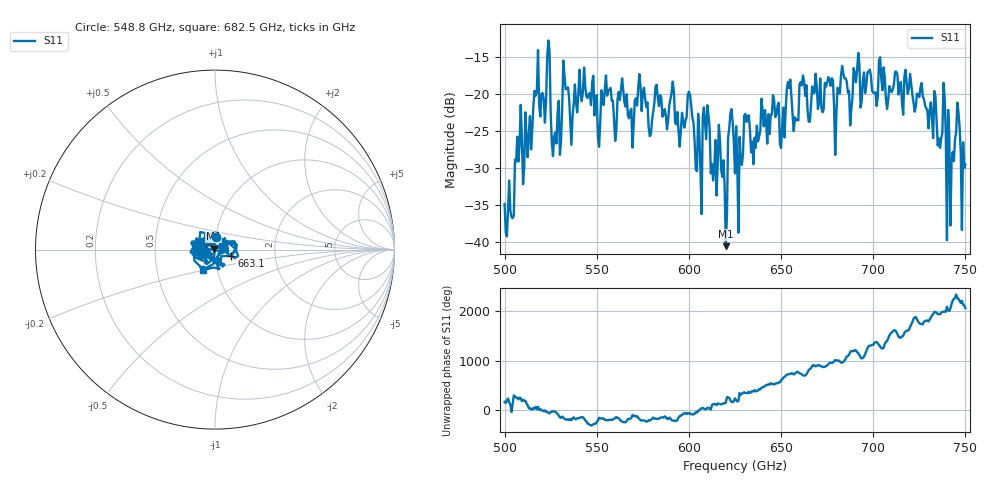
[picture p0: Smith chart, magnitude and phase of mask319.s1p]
!Created with skrf (http://scikit-rf.org).
# GHz S MA R 50.0
!freq magS11 angS11
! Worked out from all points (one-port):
!   401 points, 500 GHz to 750 GHz, reference 50 ohm
!   lowest |S11| = -40.6 dB at 620 GHz (marker M1), VSWR 1.02, Z = 49.2 + j0.465 ohm
!   |S11| at or under -10 dB: start of sweep to end of sweep
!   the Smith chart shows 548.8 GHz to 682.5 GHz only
!   S11 on the Smith chart (normalised r, x): 548.8 GHz: 1.00, +0.14; 663.1 GHz: 1.20, -0.08; 682.5 GHz: 0.85, -0.20
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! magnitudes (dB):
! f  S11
! 500 GHz  -34.9
! 516.9 GHz  -20.2
! 523.8 GHz  -12.7
! 526.9 GHz  -25.7
! 531.2 GHz  -21.8
! 548.8 GHz  -22.9
! 562.5 GHz  -20.8
! 579.4 GHz  -25.4
! 590.6 GHz  -19.7
! 593.8 GHz  -22.4
! 600.6 GHz  -20.2
! 605.6 GHz  -25.2
! 609.4 GHz  -26.1
! 620 GHz  -40.6
! 622.5 GHz  -22.6
! 625 GHz  -30.7
! 627.5 GHz  -25.8
! 656.2 GHz  -22.8
! 663.1 GHz  -20.2
! 680 GHz  -22.7
! 682.5 GHz  -17.5
! 687.5 GHz  -24.2
! 691.2 GHz  -16.7
! 718.8 GHz  -20.0
! 738.1 GHz  -18.5
! 741.2 GHz  -25.4
! 745.6 GHz  -21.2
! 750 GHz  -29.6
